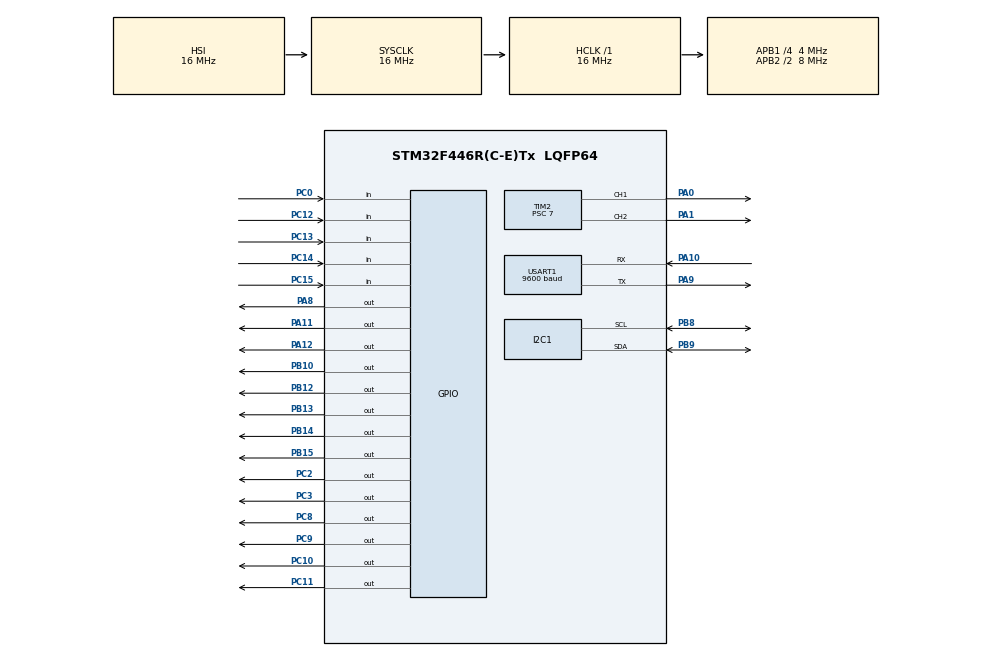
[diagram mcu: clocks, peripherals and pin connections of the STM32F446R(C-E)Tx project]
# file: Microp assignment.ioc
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Mcu.Family=STM32F4
Mcu.Name=STM32F446R(C-E)Tx
Mcu.Package=LQFP64
NVIC.PriorityGroup=NVIC_PRIORITYGROUP_4
NVIC.USART1_IRQn=true\:0\:0\:false\:false\:true\:true\:true\:true
PA0-WKUP.Signal=S_TIM2_CH1_ETR
PA1.Signal=S_TIM2_CH2
PA10.Mode=Asynchronous
PA10.Signal=USART1_RX
PA11.PinState=GPIO_PIN_SET
PA11.Signal=GPIO_Output
PA12.Signal=GPIO_Output
PA8.PinState=GPIO_PIN_SET
PA8.Signal=GPIO_Output
PA9.Mode=Asynchronous
PA9.Signal=USART1_TX
PB10.Signal=GPIO_Output
PB12.Signal=GPIO_Output
PB13.Signal=GPIO_Output
PB14.Signal=GPIO_Output
PB15.Signal=GPIO_Output
PB8.GPIO_Pu=GPIO_PULLUP
PB8.Mode=I2C
PB8.Signal=I2C1_SCL
PB9.GPIO_Pu=GPIO_PULLUP
PB9.Mode=I2C
PB9.Signal=I2C1_SDA
PC0.GPIO_PuPd=GPIO_NOPULL
PC0.Signal=GPIO_Input
PC10.GPIO_PuPd=GPIO_NOPULL
PC10.PinState=GPIO_PIN_SET
PC10.Signal=GPIO_Output
PC11.PinState=GPIO_PIN_SET
PC11.Signal=GPIO_Output
PC12.GPIO_PuPd=GPIO_PULLUP
PC12.Signal=GPIO_Input
PC13.GPIO_PuPd=GPIO_PULLUP
PC13.Signal=GPIO_Input
PC14-OSC32_IN.GPIO_PuPd=GPIO_PULLUP
PC14-OSC32_IN.Signal=GPIO_Input
PC15-OSC32_OUT.GPIO_PuPd=GPIO_PULLUP
PC15-OSC32_OUT.Signal=GPIO_Input
PC2.PinState=GPIO_PIN_SET
PC2.Signal=GPIO_Output
PC3.Signal=GPIO_Output
PC8.PinState=GPIO_PIN_SET
PC8.Signal=GPIO_Output
PC9.PinState=GPIO_PIN_SET
PC9.Signal=GPIO_Output
ProjectManager.HeapSize=0x200
ProjectManager.StackSize=0x400
ProjectManager.TargetToolchain=STM32CubeIDE
RCC.AHBFreq_Value=16000000
RCC.APB1CLKDivider=RCC_HCLK_DIV4
RCC.APB1Freq_Value=4000000
RCC.APB1TimFreq_Value=8000000
RCC.APB2CLKDivider=RCC_HCLK_DIV2
RCC.APB2Freq_Value=8000000
RCC.APB2TimFreq_Value=16000000
RCC.CortexFreq_Value=16000000
RCC.HCLKFreq_Value=16000000
RCC.PLLM=8
RCC.PLLN=64
RCC.SYSCLKFreq_VALUE=16000000
RCC.USBFreq_Value=64000000
RCC.VCOOutputFreq_Value=128000000
SH.S_TIM2_CH1_ETR.0=TIM2_CH1,PWM Generation1 CH1
SH.S_TIM2_CH2.0=TIM2_CH2,PWM Generation2 CH2
TIM2.Channel-PWM\ Generation1\ CH1=TIM_CHANNEL_1
TIM2.Channel-PWM\ Generation2\ CH2=TIM_CHANNEL_2
TIM2.Period=19999
TIM2.Prescaler=7
USART1.BaudRate=9600
USART1.VirtualMode=VM_ASYNC
VP_TIM2_VS_ClockSourceINT.Mode=Internal
board=custom

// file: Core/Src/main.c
/* USER CODE BEGIN Header */
/**
  ******************************************************************************
  * @file           : main.c
  * @brief          : Main program body
  ******************************************************************************
  * @attention
  *
  * Copyright (c) 2026 STMicroelectronics.
  * All rights reserved.
  *
  * This software is licensed under terms that can be found in the LICENSE file
  * in the root directory of this software component.
  * If no LICENSE file comes with this software, it is provided AS-IS.
  *
  ******************************************************************************
  */
/* USER CODE END Header */
#include "main.h"

/* USER CODE BEGIN Includes */
#include <string.h>
#include "ssd1306.h"
#include "ssd1306_fonts.h"
/* USER CODE END Includes */

/* USER CODE BEGIN PD */
#define IR_SENSOR_PIN GPIO_PIN_0  // Connect IR OUT to PA0
#define BUZZER_PIN    GPIO_PIN_2  // Connect Buzzer to PA2
/* USER CODE END PD */

I2C_HandleTypeDef hi2c1;

TIM_HandleTypeDef htim2;

UART_HandleTypeDef huart1;

/* USER CODE BEGIN PV */
typedef enum {
    STATE_DISARMED,
    STATE_ARMED,
    STATE_ALARM
} SystemState;

SystemState current_state = STATE_DISARMED;
char entered_pass[5] = {0}; // Holds 4 digits + null terminator
int pass_index = 0;

// Security Logic Variables

int failed_attempts = 0;
int lockout_active = 0;
uint32_t lockout_start_time = 0;

uint8_t rx_data;              // Holds the single incoming byte
char bt_buffer[10];           // Stores the string from phone
int bt_index = 0;
int bluetooth_password_ready = 0; // Flag to trigger state change
int bt_authenticated = 0; // 0 = Locked, 1 = Access Granted
/* USER CODE END PV */

void SystemClock_Config(void);
static void MX_GPIO_Init(void);
static void MX_TIM2_Init(void);
static void MX_USART1_UART_Init(void);
static void MX_I2C1_Init(void);
/* USER CODE BEGIN PFP */
void Toggle_LED_NonBlocking(void);
char Keypad_Scan(void);
void Manage_Alarm_Logic(int password_correct);
void Handle_Error_Feedback(int trigger);
void BT_Send(char *msg);
void Display_Menu(void);
void Process_BT_Command(void);
void Update_Security_Display(SystemState state, char* pass_buffer);
/* USER CODE END PFP */

int main(void)
{

  /* MCU Configuration--------------------------------------------------------*/

  /* Reset of all peripherals, Initializes the Flash interface and the Systick. */
  HAL_Init();

  /* Configure the system clock */
  SystemClock_Config();

  /* Initialize all configured peripherals */
  MX_GPIO_Init();
  MX_TIM2_Init();
  MX_USART1_UART_Init();
  MX_I2C1_Init();
  /* USER CODE BEGIN 2 */
  HAL_TIM_PWM_Start(&htim2, TIM_CHANNEL_1);

  // Start Bluetooth Interrupt Listening
  HAL_UART_Receive_IT(&huart1, &rx_data, 1);
  HAL_Delay(500); // Give HC-06 a moment to stabilize
  BT_Send("Connection Established.\r\n");
  Display_Menu();
  ssd1306_Init();
  Update_Security_Display(current_state, entered_pass);
  /* USER CODE END 2 */

  /* Infinite loop */
  /* USER CODE BEGIN WHILE */
  while (1)
  {
 	  Toggle_LED_NonBlocking(); // Heartbeat LED
	        int password_trigger = 0; // Reset trigger every loop

	        // --- 1. BLUETOOTH LOGIC ---
	        if (bluetooth_password_ready) {
	            bluetooth_password_ready = 0; // Clear flag

	            if (!bt_authenticated) {
	                // LOGIN GATE
	                if (strcmp(bt_buffer, "1111") == 0) {
	                    bt_authenticated = 1;
	                    BT_Send("\r\n>>> ACCESS GRANTED <<<\r\n");
	                    Display_Menu();
	                } else {
	                    BT_Send("\r\n[!] Incorrect Password. Try again: ");
	                }
	            }
	            else {
	                // MENU COMMANDS
	                if (strcmp(bt_buffer, "1") == 0) { // DISARM
	                    if (current_state != STATE_DISARMED) {
	                        password_trigger = 1;
	                        BT_Send("\r\n> Disarming...\r\n");
	                    } else BT_Send("\r\n> Already Disarmed.\r\n");
	                }
	                else if (strcmp(bt_buffer, "2") == 0) { // ARM
	                    if (current_state == STATE_DISARMED) {
	                        password_trigger = 1;
	                        BT_Send("\r\n> Arming...\r\n");
	                    } else BT_Send("\r\n> Already Armed.\r\n");
	                }
	                else if (strcmp(bt_buffer, "3") == 0) { // STATUS
	                    BT_Send("\r\n--- STATUS ---\r\n");
	                    if (current_state == STATE_DISARMED) BT_Send("State: DISARMED\r\n");
	                    else if (current_state == STATE_ARMED) BT_Send("State: ARMED\r\n");
	                    else BT_Send("State: !! ALARM !!\r\n");
	                }
	                else if (strcmp(bt_buffer, "4") == 0) { // RESET ALARM
	                    if (current_state == STATE_ALARM) {
	                        password_trigger = 1;
	                        BT_Send("\r\n> Alarm Reset.\r\n");
	                    } else BT_Send("\r\n> No Alarm active.\r\n");
	                }
	                else if (strcmp(bt_buffer, "5") == 0) { // LOGOUT
	                    bt_authenticated = 0;
	                    BT_Send("\r\nLogged out. Enter Password: ");
	                }

	                if (bt_authenticated) Display_Menu();
	            }
	        }

	        // --- 2. PHYSICAL KEYPAD LOGIC ---
	        if (!lockout_active) {
	            char key = Keypad_Scan();
	            if (key != 0) {
	                if (key == '#') {
	                    if (strcmp(entered_pass, "1111") == 0) {
	                        password_trigger = 1;
	                        failed_attempts = 0;
	                    } else {
	                        failed_attempts++;
	                        if (failed_attempts >= 3) {
	                            lockout_active = 1;
	                            lockout_start_time = HAL_GetTick();
	                            BT_Send("\r\n[!] LOCKOUT ACTIVATED VIA KEYPAD\r\n");
	                        }
	                    }
	                    memset(entered_pass, 0, sizeof(entered_pass));
	                    pass_index = 0;
	                    Update_Security_Display(current_state, entered_pass);
	                } else if (pass_index < 4) {
	                    entered_pass[pass_index++] = key;
	                    Update_Security_Display(current_state, entered_pass);
	                }
	            }
	        } else {
	            // Check if 30s lockout is over
	            if (HAL_GetTick() - lockout_start_time >= 30000) {
	                lockout_active = 0;
	                failed_attempts = 0;
	            }
	        }

	        // --- 3. SYSTEM EXECUTION ---
	        Manage_Alarm_Logic(password_trigger);

	  /* USER CODE BEGIN 2 */

	  /* USER CODE END 2 */
    /* USER CODE END WHILE */

  }
}

void SystemClock_Config(void)
{
  RCC_OscInitTypeDef RCC_OscInitStruct = {0};
  RCC_ClkInitTypeDef RCC_ClkInitStruct = {0};

  /** Configure the main internal regulator output voltage
  */
  __HAL_RCC_PWR_CLK_ENABLE();
  __HAL_PWR_VOLTAGESCALING_CONFIG(PWR_REGULATOR_VOLTAGE_SCALE3);

  /** Initializes the RCC Oscillators according to the specified parameters
  * in the RCC_OscInitTypeDef structure.
  */
  RCC_OscInitStruct.OscillatorType = RCC_OSCILLATORTYPE_HSI;
  RCC_OscInitStruct.HSIState = RCC_HSI_ON;
  RCC_OscInitStruct.HSICalibrationValue = RCC_HSICALIBRATION_DEFAULT;
  RCC_OscInitStruct.PLL.PLLState = RCC_PLL_NONE;
  if (HAL_RCC_OscConfig(&RCC_OscInitStruct) != HAL_OK)
  {
    Error_Handler();
  }

  /** Initializes the CPU, AHB and APB buses clocks
  */
  RCC_ClkInitStruct.ClockType = RCC_CLOCKTYPE_HCLK|RCC_CLOCKTYPE_SYSCLK
                              |RCC_CLOCKTYPE_PCLK1|RCC_CLOCKTYPE_PCLK2;
  RCC_ClkInitStruct.SYSCLKSource = RCC_SYSCLKSOURCE_HSI;
  RCC_ClkInitStruct.AHBCLKDivider = RCC_SYSCLK_DIV1;
  RCC_ClkInitStruct.APB1CLKDivider = RCC_HCLK_DIV4;
  RCC_ClkInitStruct.APB2CLKDivider = RCC_HCLK_DIV2;

  if (HAL_RCC_ClockConfig(&RCC_ClkInitStruct, FLASH_LATENCY_0) != HAL_OK)
  {
    Error_Handler();
  }
}

static void MX_I2C1_Init(void)
{

  hi2c1.Instance = I2C1;
  hi2c1.Init.ClockSpeed = 100000;
  hi2c1.Init.DutyCycle = I2C_DUTYCYCLE_2;
  hi2c1.Init.OwnAddress1 = 0;
  hi2c1.Init.AddressingMode = I2C_ADDRESSINGMODE_7BIT;
  hi2c1.Init.DualAddressMode = I2C_DUALADDRESS_DISABLE;
  hi2c1.Init.OwnAddress2 = 0;
  hi2c1.Init.GeneralCallMode = I2C_GENERALCALL_DISABLE;
  hi2c1.Init.NoStretchMode = I2C_NOSTRETCH_DISABLE;
  if (HAL_I2C_Init(&hi2c1) != HAL_OK)
  {
    Error_Handler();
  }

}

static void MX_TIM2_Init(void)
{

  TIM_ClockConfigTypeDef sClockSourceConfig = {0};
  TIM_MasterConfigTypeDef sMasterConfig = {0};
  TIM_OC_InitTypeDef sConfigOC = {0};

  htim2.Instance = TIM2;
  htim2.Init.Prescaler = 7;
  htim2.Init.CounterMode = TIM_COUNTERMODE_UP;
  htim2.Init.Period = 19999;
  htim2.Init.ClockDivision = TIM_CLOCKDIVISION_DIV1;
  htim2.Init.AutoReloadPreload = TIM_AUTORELOAD_PRELOAD_DISABLE;
  if (HAL_TIM_Base_Init(&htim2) != HAL_OK)
  {
    Error_Handler();
  }
  sClockSourceConfig.ClockSource = TIM_CLOCKSOURCE_INTERNAL;
  if (HAL_TIM_ConfigClockSource(&htim2, &sClockSourceConfig) != HAL_OK)
  {
    Error_Handler();
  }
  if (HAL_TIM_PWM_Init(&htim2) != HAL_OK)
  {
    Error_Handler();
  }
  sMasterConfig.MasterOutputTrigger = TIM_TRGO_RESET;
  sMasterConfig.MasterSlaveMode = TIM_MASTERSLAVEMODE_DISABLE;
  if (HAL_TIMEx_MasterConfigSynchronization(&htim2, &sMasterConfig) != HAL_OK)
  {
    Error_Handler();
  }
  sConfigOC.OCMode = TIM_OCMODE_PWM1;
  sConfigOC.Pulse = 0;
  sConfigOC.OCPolarity = TIM_OCPOLARITY_HIGH;
  sConfigOC.OCFastMode = TIM_OCFAST_DISABLE;
  if (HAL_TIM_PWM_ConfigChannel(&htim2, &sConfigOC, TIM_CHANNEL_1) != HAL_OK)
  {
    Error_Handler();
  }
  if (HAL_TIM_PWM_ConfigChannel(&htim2, &sConfigOC, TIM_CHANNEL_2) != HAL_OK)
  {
    Error_Handler();
  }
  HAL_TIM_MspPostInit(&htim2);

}

static void MX_USART1_UART_Init(void)
{

  huart1.Instance = USART1;
  huart1.Init.BaudRate = 9600;
  huart1.Init.WordLength = UART_WORDLENGTH_8B;
  huart1.Init.StopBits = UART_STOPBITS_1;
  huart1.Init.Parity = UART_PARITY_NONE;
  huart1.Init.Mode = UART_MODE_TX_RX;
  huart1.Init.HwFlowCtl = UART_HWCONTROL_NONE;
  huart1.Init.OverSampling = UART_OVERSAMPLING_16;
  if (HAL_UART_Init(&huart1) != HAL_OK)
  {
    Error_Handler();
  }

}

static void MX_GPIO_Init(void)
{
  GPIO_InitTypeDef GPIO_InitStruct = {0};

  /* GPIO Ports Clock Enable */
  __HAL_RCC_GPIOC_CLK_ENABLE();
  __HAL_RCC_GPIOA_CLK_ENABLE();
  __HAL_RCC_GPIOB_CLK_ENABLE();

  /*Configure GPIO pin Output Level */
  HAL_GPIO_WritePin(GPIOC, GPIO_PIN_2|GPIO_PIN_8|GPIO_PIN_9|GPIO_PIN_10
                          |GPIO_PIN_11, GPIO_PIN_SET);

  /*Configure GPIO pin Output Level */
  HAL_GPIO_WritePin(GPIOC, GPIO_PIN_3, GPIO_PIN_RESET);

  /*Configure GPIO pin Output Level */
  HAL_GPIO_WritePin(GPIOB, GPIO_PIN_10|GPIO_PIN_12|GPIO_PIN_13|GPIO_PIN_14
                          |GPIO_PIN_15, GPIO_PIN_RESET);

  /*Configure GPIO pin Output Level */
  HAL_GPIO_WritePin(GPIOA, GPIO_PIN_8|GPIO_PIN_11, GPIO_PIN_SET);

  /*Configure GPIO pin Output Level */
  HAL_GPIO_WritePin(GPIOA, GPIO_PIN_12, GPIO_PIN_RESET);

  /*Configure GPIO pins : PC13 PC14 PC15 PC12 */
  GPIO_InitStruct.Pin = GPIO_PIN_13|GPIO_PIN_14|GPIO_PIN_15|GPIO_PIN_12;
  GPIO_InitStruct.Mode = GPIO_MODE_INPUT;
  GPIO_InitStruct.Pull = GPIO_PULLUP;
  HAL_GPIO_Init(GPIOC, &GPIO_InitStruct);

  /*Configure GPIO pin : PC0 */
  GPIO_InitStruct.Pin = GPIO_PIN_0;
  GPIO_InitStruct.Mode = GPIO_MODE_INPUT;
  GPIO_InitStruct.Pull = GPIO_NOPULL;
  HAL_GPIO_Init(GPIOC, &GPIO_InitStruct);

  /*Configure GPIO pins : PC2 PC3 PC8 PC9
                           PC10 PC11 */
  GPIO_InitStruct.Pin = GPIO_PIN_2|GPIO_PIN_3|GPIO_PIN_8|GPIO_PIN_9
                          |GPIO_PIN_10|GPIO_PIN_11;
  GPIO_InitStruct.Mode = GPIO_MODE_OUTPUT_PP;
  GPIO_InitStruct.Pull = GPIO_NOPULL;
  GPIO_InitStruct.Speed = GPIO_SPEED_FREQ_LOW;
  HAL_GPIO_Init(GPIOC, &GPIO_InitStruct);

  /*Configure GPIO pins : PB10 PB12 PB13 PB14
                           PB15 */
  GPIO_InitStruct.Pin = GPIO_PIN_10|GPIO_PIN_12|GPIO_PIN_13|GPIO_PIN_14
                          |GPIO_PIN_15;
  GPIO_InitStruct.Mode = GPIO_MODE_OUTPUT_PP;
  GPIO_InitStruct.Pull = GPIO_NOPULL;
  GPIO_InitStruct.Speed = GPIO_SPEED_FREQ_LOW;
  HAL_GPIO_Init(GPIOB, &GPIO_InitStruct);

  /*Configure GPIO pins : PA8 PA11 PA12 */
  GPIO_InitStruct.Pin = GPIO_PIN_8|GPIO_PIN_11|GPIO_PIN_12;
  GPIO_InitStruct.Mode = GPIO_MODE_OUTPUT_PP;
  GPIO_InitStruct.Pull = GPIO_NOPULL;
  GPIO_InitStruct.Speed = GPIO_SPEED_FREQ_LOW;
  HAL_GPIO_Init(GPIOA, &GPIO_InitStruct);

}

/* USER CODE BEGIN 4 */
void Process_BT_Command(void) {
    if (strcmp(bt_buffer, "1") == 0) {
        Manage_Alarm_Logic(1); // Simulate correct pass to toggle state
        BT_Send("System Toggled via Bluetooth\r\n");
    } else if (strcmp(bt_buffer, "3") == 0) {
        if (current_state == STATE_DISARMED) BT_Send("Status: DISARMED\r\n");
        else if (current_state == STATE_ARMED) BT_Send("Status: ARMED\r\n");
        else BT_Send("Status: ALARM ACTIVE!\r\n");
    }
    Display_Menu(); // Show menu again
}
void HAL_UART_RxCpltCallback(UART_HandleTypeDef *huart) {
    if (huart->Instance == USART1) {
        if (rx_data == '\n' || rx_data == '\r') {
            if (bt_index > 0) { // Only trigger if we actually got data
                bt_buffer[bt_index] = '\0';
                bluetooth_password_ready = 1;
                bt_index = 0;
            }
        } else {
            if (bt_index < 9) {
                bt_buffer[bt_index++] = rx_data;
            }
        }
        HAL_UART_Receive_IT(&huart1, &rx_data, 1);
    }
}
char Keypad_Scan(void) {
    uint16_t RowPins[] = {GPIO_PIN_8, GPIO_PIN_9, GPIO_PIN_10, GPIO_PIN_11};
    uint16_t ColPins[] = {GPIO_PIN_12, GPIO_PIN_13, GPIO_PIN_14, GPIO_PIN_15};
    char keys[4][4] = {{'1','2','3','A'},{'4','5','6','B'},{'7','8','9','C'},{'*','0','#','D'}};

    static uint8_t button_pressed = 0;

    for (int r = 0; r < 4; r++) {
        HAL_GPIO_WritePin(GPIOC, RowPins[r], GPIO_PIN_RESET);
        for (int c = 0; c < 4; c++) {
            if (HAL_GPIO_ReadPin(GPIOC, ColPins[c]) == GPIO_PIN_RESET) {
                if (!button_pressed) {
                    HAL_Delay(50); // Debounce
                    button_pressed = 1;
                    HAL_GPIO_WritePin(GPIOC, RowPins[r], GPIO_PIN_SET);
                    return keys[r][c];
                }
                HAL_GPIO_WritePin(GPIOC, RowPins[r], GPIO_PIN_SET);
                return 0; // Still holding button, don't return key again
            }
        }
        HAL_GPIO_WritePin(GPIOC, RowPins[r], GPIO_PIN_SET);
    }
    button_pressed = 0; // No buttons pressed
    return 0;
}
void Manage_Alarm_Logic(int password_correct) {
    static SystemState last_state = -1; // Force first update

    // 1. Handle State Transitions
    if (password_correct) {
        if (current_state == STATE_ARMED || current_state == STATE_ALARM) {
            current_state = STATE_DISARMED;
            __HAL_TIM_SET_COMPARE(&htim2, TIM_CHANNEL_1, 500);
        } else {
            current_state = STATE_ARMED;
            __HAL_TIM_SET_COMPARE(&htim2, TIM_CHANNEL_1, 1500);
        }
    }

    // 2. Sensor Check
    if (current_state == STATE_ARMED) {
        if (HAL_GPIO_ReadPin(GPIOC, IR_SENSOR_PIN) == GPIO_PIN_RESET) {
            current_state = STATE_ALARM;
        }
    }

    // 3. Only update OLED if the state CHANGED
    if (current_state != last_state) {
        Update_Security_Display(current_state, entered_pass);
        last_state = current_state;
    }

    // 4. Constant Alarm Actions (Buzzer/LED)
    if (current_state == STATE_ALARM) {
        static uint32_t last_beep = 0;
        if (HAL_GetTick() - last_beep > 200) {
            HAL_GPIO_TogglePin(GPIOC, BUZZER_PIN);
            HAL_GPIO_TogglePin(GPIOB, GPIO_PIN_13);
            last_beep = HAL_GetTick();
        }
    } else {
        HAL_GPIO_WritePin(GPIOC, BUZZER_PIN, GPIO_PIN_SET); // Ensure silent
    }
}
void Handle_Error_Feedback(int trigger) {
    static uint32_t error_start_time = 0;
    static uint32_t last_blink_time = 0;
    static int is_error_active = 0;

    if (trigger == 1 && is_error_active == 0) {
        is_error_active = 1;
        error_start_time = HAL_GetTick();
    }

    if (is_error_active) {
        if (HAL_GetTick() - last_blink_time >= 100) {
            HAL_GPIO_TogglePin(GPIOB, GPIO_PIN_13); // Rapid blink
            last_blink_time = HAL_GetTick();
        }
        if (HAL_GetTick() - error_start_time >= 1000) {
            is_error_active = 0;
            HAL_GPIO_WritePin(GPIOB, GPIO_PIN_13, GPIO_PIN_SET); // LED Off (Active Low assumed)
        }
    }
}
void Toggle_LED_NonBlocking(void) {
    static uint32_t last_tick = 0; // "static" remembers the value between function calls
    uint32_t current_tick = HAL_GetTick();

    // Check if 500ms have passed since the last toggle
    if (current_tick - last_tick >= 500) {
        HAL_GPIO_TogglePin(GPIOB, GPIO_PIN_12); // Change state of PB12
        last_tick = current_tick;               // Update the timestamp
    }
}
void BT_Send(char *msg) {
    HAL_UART_Transmit(&huart1, (uint8_t*)msg, strlen(msg), 100);
}
void Update_Security_Display(SystemState state, char* pass_buffer) {
    ssd1306_Fill(Black);

    if (state == STATE_ALARM) {
        // EMERGENCY VISUAL
        ssd1306_Fill(White);
        ssd1306_SetCursor(12, 10);
        ssd1306_WriteString("!! ALARM !!", Font_11x18, Black);
        ssd1306_SetCursor(18, 35);
        ssd1306_WriteString("EMERGENCY", Font_7x10, Black);
    }
    else {
        // HEADER

        ssd1306_Line(0, 12, 128, 12, White);

        // SYSTEM STATUS
        ssd1306_SetCursor(20,0);
        if(state == STATE_ARMED) ssd1306_WriteString("ARMED", Font_7x10, White);
        else ssd1306_WriteString("DISARMED", Font_7x10, White);

        // PIN INPUT BOX
        ssd1306_SetCursor(10, 35);
        ssd1306_WriteString("PIN:", Font_11x18, White);

        // This displays the actual numbers you type
        ssd1306_WriteString(pass_buffer, Font_11x18, White);

        ssd1306_SetCursor(110, 35);
        ssd1306_WriteString("", Font_11x18, White);

        // FOOTER
        ssd1306_SetCursor(0, 55);
        ssd1306_WriteString("Press # to Enter", Font_6x8, White);
    }
    ssd1306_UpdateScreen();
}

void Display_Menu(void) {
    BT_Send("\r\n--- SMART SECURITY MENU ---\r\n");
    BT_Send("1. DISARM / UNLOCK\r\n");
    BT_Send("2. ARM / LOCK\r\n");
    BT_Send("3. SYSTEM STATUS\r\n");
    BT_Send("4. RESET ALARM\r\n");
    BT_Send("---------------------------\r\n");
    BT_Send("Enter choice: ");
}

/* USER CODE END 4 */

void Error_Handler(void)
{
  __disable_irq();
  while (1)
  {
  }
}
